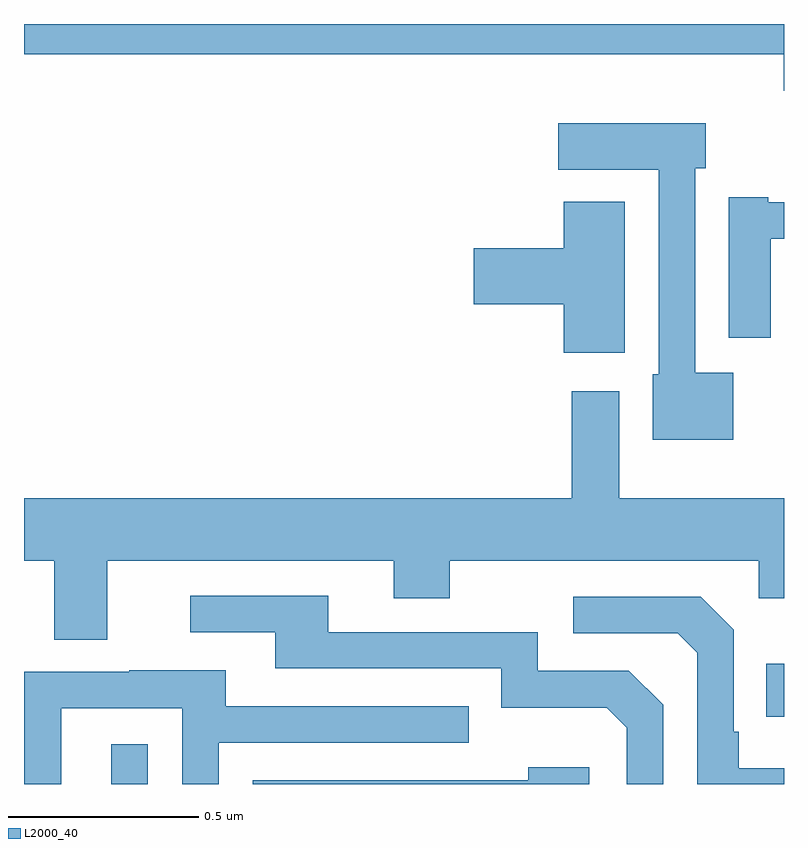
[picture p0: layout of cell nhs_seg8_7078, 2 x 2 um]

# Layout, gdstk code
import gdstk
lib = gdstk.Library(unit=1e-6, precision=1e-09)
def R(c, l, rs):  # rectangles x0, y0, x1, y1
    for r in rs: c.add(gdstk.rectangle(r[:2], r[2:], *l))
def P(c, l, *ps):  # polygons
    for p in ps: c.add(gdstk.Polygon(p, *l))
L2000_40 = (2000, 40)

nhs_seg8_7078 = lib.new_cell('nhs_seg8_7078')
R(nhs_seg8_7078, L2000_40, [(205.229,1127.9,205.326,1128.004), (206.953,1128.077,207,1128.217)])
P(nhs_seg8_7078, L2000_40, [(207,1129.9),(205,1129.9),(205,1129.82),(206.999,1129.82),(206.999,1129.724),(207,1129.724)],
  [(206.866,1128.982),(206.766,1128.982),(206.766,1129.521),(206.794,1129.521),(206.794,1129.639),(206.406,1129.639),(206.406,1129.517),(206.67,1129.517),(206.67,1128.978),(206.654,1128.978),(206.654,1128.806),(206.866,1128.806)],
  [(206.965,1129.335),(207,1129.335),(207,1129.431),(206.959,1129.431),(206.959,1129.444),(206.855,1129.444),(206.855,1129.074),(206.965,1129.074)],
  [(206.581,1129.432),(206.42,1129.432),(206.42,1129.31),(206.184,1129.31),(206.184,1129.163),(206.42,1129.163),(206.42,1129.035),(206.581,1129.035)],
  [(205.219,1128.488),(205.973,1128.488),(205.973,1128.389),(206.121,1128.389),(206.121,1128.488),(206.934,1128.488),(206.934,1128.389),(207,1128.389),(207,1128.652),(206.566,1128.652),(206.566,1128.934),(206.441,1128.934),(206.441,1128.652),(205,1128.652),(205,1128.488),(205.079,1128.488),(205.079,1128.28),(205.219,1128.28)],
  [(206.682,1128.108),(206.592,1128.198),(206.352,1128.198),(206.352,1128.3),(205.801,1128.3),(205.801,1128.396),(205.437,1128.396),(205.437,1128.3),(205.661,1128.3),(205.661,1128.204),(206.256,1128.204),(206.256,1128.101),(206.533,1128.101),(206.586,1128.048),(206.586,1127.9),(206.682,1127.9)],
  [(207,1127.941),(206.881,1127.941),(206.881,1128.037),(206.868,1128.037),(206.868,1128.306),(206.781,1128.393),(206.445,1128.393),(206.445,1128.297),(206.721,1128.297),(206.772,1128.246),(206.772,1127.9),(207,1127.9)],
  [(205.098,1128.099),(205.416,1128.099),(205.416,1127.9),(205.512,1127.9),(205.512,1128.009),(206.171,1128.009),(206.171,1128.105),(205.531,1128.105),(205.531,1128.199),(205.277,1128.199),(205.277,1128.195),(205,1128.195),(205,1127.9),(205.098,1127.9)],
  [(206.488,1127.944),(206.327,1127.944),(206.327,1127.91),(205.602,1127.91),(205.602,1127.9),(206.488,1127.9)])

lib.write_gds('nhs_seg8_7078.gds')
